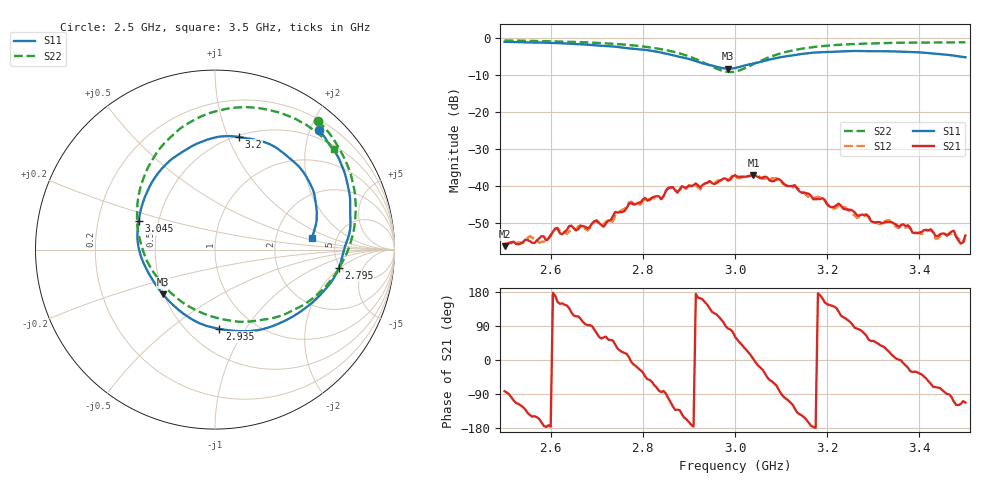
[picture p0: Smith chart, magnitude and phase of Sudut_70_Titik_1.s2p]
# Hz S RI R 50
! CMT, C1220, 16058040, 17.2.0/1
! Date: 15/08/2018 09:46:01
! Data: Format (Calibration Info)
! Freq  S11: Re/Im (F2)  S21: Re/Im (F2)  S12: Re/Im (F2)  S22: Re/Im (F2)
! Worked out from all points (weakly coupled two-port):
!   201 points, 2.5 GHz to 3.5 GHz, reference 50 ohm
!   highest |S21| = -37.13 dB at 3.04 GHz (marker M1); lowest = -56.4 dB at 2.5 GHz (marker M2)
!   lowest |S11| = -8.4 dB at 2.985 GHz (marker M3), VSWR 2.24, Z = 24.7 - j14.4 ohm
!   |S11| at or under -10 dB: nowhere
!   |S22| runs from -9.3 to -0.7 dB; largest |S21 - S12| = 0.0012
!   S11 on the Smith chart (normalised r, x): 2.5 GHz: 0.36, +2.15; 2.795 GHz: 4.79, -1.94; 2.935 GHz: 0.70, -0.77; 3.045 GHz: 0.39, +0.16; 3.2 GHz: 0.51, +1.10; 3.5 GHz: 3.26, +0.61
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2.5e9  0.5793 0.6641  0.000197 -0.00151  0.000222 -0.00165  0.5746 0.7178
2.555e9  0.6432 0.5763  -0.00146 -0.00101  -0.00166 -0.00125  0.6358 0.6493
2.59e9  0.688 0.5118  -0.00182 -9.96e-05  -0.00168 -0.000233  0.672 0.5967
2.61e9  0.7051 0.4724  -0.00257 0.000501  -0.00261 0.000498  0.6923 0.5628
2.67e9  0.7482 0.3192  -0.0005 0.00279  -0.000323 0.00279  0.7477 0.445
2.715e9  0.7537 0.1837  0.00141 0.0024  0.00144 0.0026  0.7761 0.3337
2.77e9  0.7184 -0.00272  0.00563 0.000707  0.00591 0.000608  0.781 0.1652
2.795e9  0.6894 -0.1041  0.0053 -0.0027  0.00491 -0.00262  0.7661 0.0765
2.835e9  0.5884 -0.2504  0.00111 -0.00709  0.00126 -0.00682  0.704 -0.079
2.935e9  0.0236 -0.4418  -0.00944 0.00504  -0.00965 0.00464  0.2156 -0.3982
2.985e9  -0.2903 -0.2487  0.00141 0.0116  0.000919 0.0119  -0.1798 -0.295
3e9  -0.3591 -0.1504  0.00654 0.0122  0.00719 0.0119  -0.2798 -0.206
3.04e9  -0.4298 0.1262  0.0139 0.000492  0.0141 0.00112  -0.4283 0.0994
3.045e9  -0.4258 0.1605  0.0134 -0.00156  0.0143 -0.00144  -0.4335 0.1406
3.105e9  -0.2564 0.4914  -0.00127 -0.0107  -0.00145 -0.0105  -0.3245 0.5403
3.17e9  0.0189 0.6286  -0.00655 -0.000387  -0.00657 -0.000925  -0.0694 0.7452
3.2e9  0.1337 0.6272  -0.00468 0.00299  -0.00461 0.00326  0.0437 0.7798
3.335e9  0.4834 0.4435  0.00303 0.00117  0.00323 0.00106  0.417 0.7419
3.435e9  0.5657 0.2257  0.000664 -0.00199  0.000542 -0.00186  0.5865 0.6366
3.475e9  0.5588 0.127  -0.000829 -0.00231  -0.000704 -0.00223  0.6364 0.5898
3.49e9  0.5479 0.0894  -0.000716 -0.00148  -0.000841 -0.00149  0.6537 0.5709
3.5e9  0.5401 0.066  -0.000804 -0.00196  -0.000891 -0.00172  0.665 0.5583
